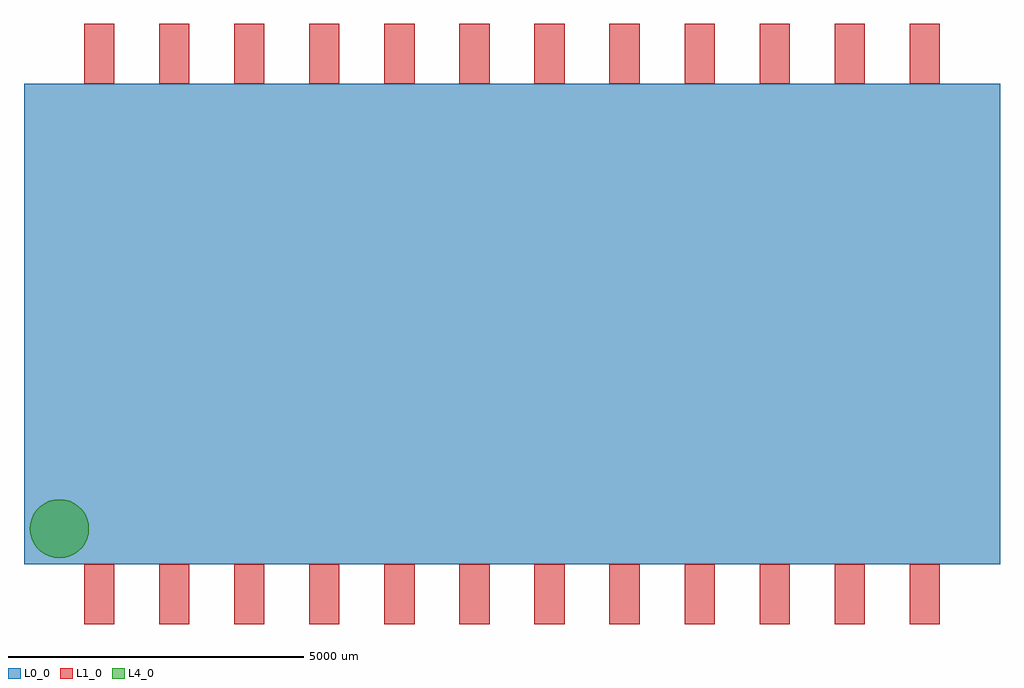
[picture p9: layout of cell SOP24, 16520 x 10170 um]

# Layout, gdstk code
import gdstk
lib = gdstk.Library(unit=1e-6, precision=1e-09)
def R(c, l, rs):  # rectangles x0, y0, x1, y1
    for r in rs: c.add(gdstk.rectangle(r[:2], r[2:], *l))
def A(c, l, x, y, w, h, nx, ny, dx, dy):  # array of equal rectangles
    R(c, l, [(x+i*dx, y+j*dy, x+i*dx+w, y+j*dy+h) for i in range(nx) for j in range(ny)])
def P(c, l, *ps):  # polygons
    for p in ps: c.add(gdstk.Polygon(p, *l))
L0_0 = (0, 0)
L1_0 = (1, 0)
L4_0 = (4, 0)
L99_1 = (99, 1)
L99_2 = (99, 2)
L99_3 = (99, 3)
L99_4 = (99, 4)
L99_5 = (99, 5)
L99_6 = (99, 6)
L99_7 = (99, 7)
L99_8 = (99, 8)
L99_9 = (99, 9)
L99_10 = (99, 10)
L99_11 = (99, 11)
L99_12 = (99, 12)
L99_13 = (99, 13)
L99_14 = (99, 14)
L99_15 = (99, 15)
L99_16 = (99, 16)
L99_17 = (99, 17)
L99_18 = (99, 18)
L99_19 = (99, 19)
L99_20 = (99, 20)
L99_21 = (99, 21)
L99_22 = (99, 22)
L99_23 = (99, 23)
L99_24 = (99, 24)

sop24 = lib.new_cell('SOP24')
R(sop24, L0_0, [(0,0,16520,8130)])
A(sop24, L1_0, 1020, -1020, 510, 1020, 12, 2, 1270, 9150)
P(sop24, L4_0, [(1100,600),(1092.404,513.176),(1069.846,428.99),(1033.013,350),(983.022,278.606),(921.394,216.978),(850,166.987),(771.01,130.154),(686.824,107.596),(600,100),(513.176,107.596),(428.99,130.154),(350,166.987),(278.606,216.978),(216.978,278.606),(166.987,350),(130.154,428.99),(107.596,513.176),(100,600),(107.596,686.824),(130.154,771.01),(166.987,850),(216.978,921.394),(278.606,983.022),(350,1033.013),(428.99,1069.846),(513.176,1092.404),(600,1100),(686.824,1092.404),(771.01,1069.846),(850,1033.013),(921.394,983.022),(983.022,921.394),(1033.013,850),(1069.846,771.01),(1092.404,686.824)])
sop24.add(gdstk.FlexPath([(1530,0),(1020,0)], 0, ends="round", simple_path=True, layer=99, datatype=1))  # L99_1
sop24.add(gdstk.FlexPath([(2800,0),(2290,0)], 0, ends="round", simple_path=True, layer=99, datatype=2))  # L99_2
sop24.add(gdstk.FlexPath([(4070,0),(3560,0)], 0, ends="round", simple_path=True, layer=99, datatype=3))  # L99_3
sop24.add(gdstk.FlexPath([(5340,0),(4830,0)], 0, ends="round", simple_path=True, layer=99, datatype=4))  # L99_4
sop24.add(gdstk.FlexPath([(6610,0),(6100,0)], 0, ends="round", simple_path=True, layer=99, datatype=5))  # L99_5
sop24.add(gdstk.FlexPath([(7880,0),(7370,0)], 0, ends="round", simple_path=True, layer=99, datatype=6))  # L99_6
sop24.add(gdstk.FlexPath([(9150,0),(8640,0)], 0, ends="round", simple_path=True, layer=99, datatype=7))  # L99_7
sop24.add(gdstk.FlexPath([(10420,0),(9910,0)], 0, ends="round", simple_path=True, layer=99, datatype=8))  # L99_8
sop24.add(gdstk.FlexPath([(11690,0),(11180,0)], 0, ends="round", simple_path=True, layer=99, datatype=9))  # L99_9
sop24.add(gdstk.FlexPath([(12960,0),(12450,0)], 0, ends="round", simple_path=True, layer=99, datatype=10))  # L99_10
sop24.add(gdstk.FlexPath([(14230,0),(13720,0)], 0, ends="round", simple_path=True, layer=99, datatype=11))  # L99_11
sop24.add(gdstk.FlexPath([(15500,0),(14990,0)], 0, ends="round", simple_path=True, layer=99, datatype=12))  # L99_12
sop24.add(gdstk.FlexPath([(1020,8130),(1530,8130)], 0, ends="round", simple_path=True, layer=99, datatype=24))  # L99_24
sop24.add(gdstk.FlexPath([(2290,8130),(2800,8130)], 0, ends="round", simple_path=True, layer=99, datatype=23))  # L99_23
sop24.add(gdstk.FlexPath([(3560,8130),(4070,8130)], 0, ends="round", simple_path=True, layer=99, datatype=22))  # L99_22
sop24.add(gdstk.FlexPath([(4830,8130),(5340,8130)], 0, ends="round", simple_path=True, layer=99, datatype=21))  # L99_21
sop24.add(gdstk.FlexPath([(6100,8130),(6610,8130)], 0, ends="round", simple_path=True, layer=99, datatype=20))  # L99_20
sop24.add(gdstk.FlexPath([(7370,8130),(7880,8130)], 0, ends="round", simple_path=True, layer=99, datatype=19))  # L99_19
sop24.add(gdstk.FlexPath([(8640,8130),(9150,8130)], 0, ends="round", simple_path=True, layer=99, datatype=18))  # L99_18
sop24.add(gdstk.FlexPath([(9910,8130),(10420,8130)], 0, ends="round", simple_path=True, layer=99, datatype=17))  # L99_17
sop24.add(gdstk.FlexPath([(11180,8130),(11690,8130)], 0, ends="round", simple_path=True, layer=99, datatype=16))  # L99_16
sop24.add(gdstk.FlexPath([(12450,8130),(12960,8130)], 0, ends="round", simple_path=True, layer=99, datatype=15))  # L99_15
sop24.add(gdstk.FlexPath([(13720,8130),(14230,8130)], 0, ends="round", simple_path=True, layer=99, datatype=14))  # L99_14
sop24.add(gdstk.FlexPath([(14990,8130),(15500,8130)], 0, ends="round", simple_path=True, layer=99, datatype=13))  # L99_13

lib.write_gds('SOP24.gds')
